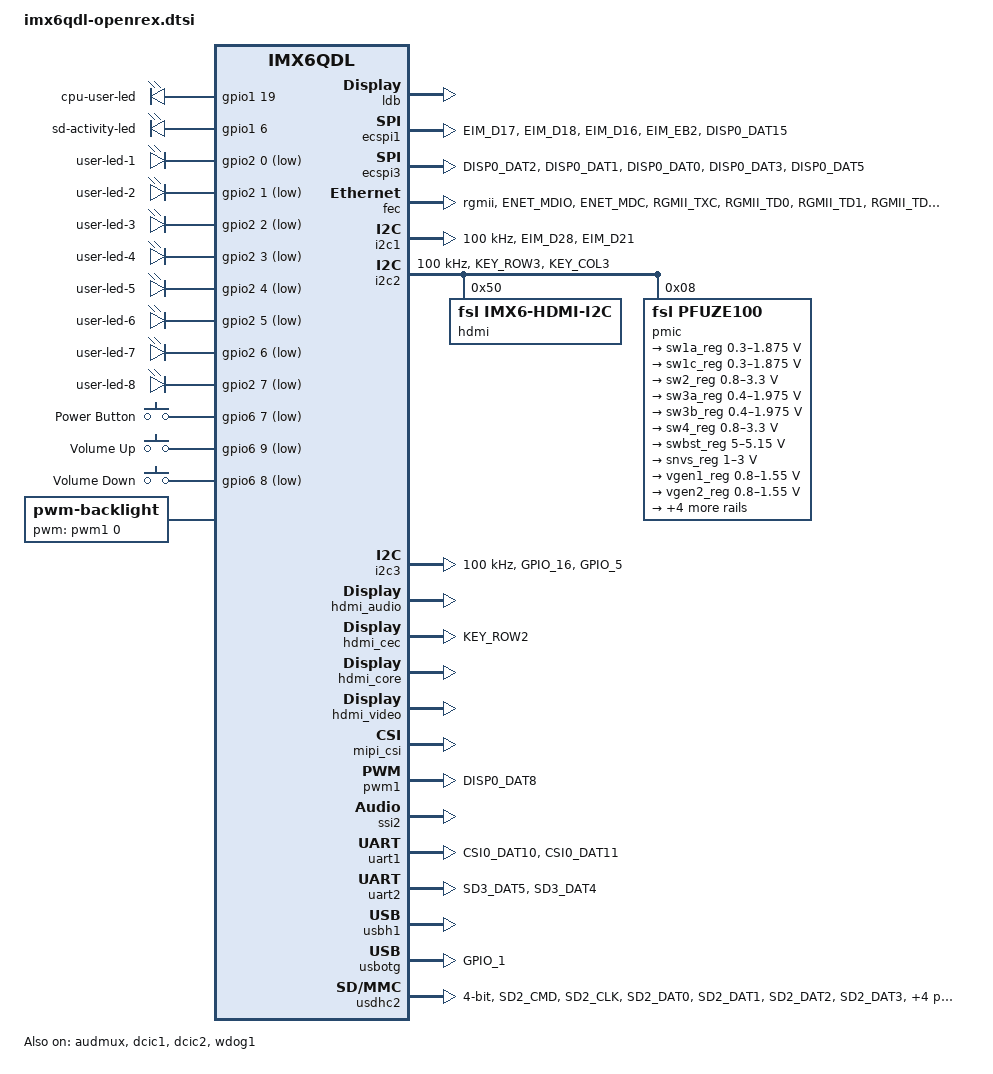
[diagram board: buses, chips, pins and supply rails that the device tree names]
/*
 * Copyright 2012 Freescale Semiconductor, Inc.
 * Copyright 2011 Linaro Ltd.
 *
 * The code contained herein is licensed under the GNU General Public
 * License. You may obtain a copy of the GNU General Public License
 * Version 2 or later at the following locations:
 *
 * http://www.opensource.org/licenses/gpl-license.html
 * http://www.gnu.org/copyleft/gpl.html
 */

#include <dt-bindings/input/input.h>

/ {
	aliases {
		mxcfb0 = &mxcfb1;
		mxcfb1 = &mxcfb2;
		mxcfb2 = &mxcfb3;
		mxcfb3 = &mxcfb4;
	};

	leds {
		compatible = "gpio-leds";

		cpu-user-led {
			gpios = <&gpio1 19 0>;
			linux,default-trigger = "heartbeat";
			retain-state-suspended;
		};

		sd-activity-led {
			gpios = <&gpio1 6 0>;
			linux,default-trigger = "mmc1";  /*SD activity LED*/
		};

		user-led-1 {
			gpios = <&gpio2 0 1>;
		};
		user-led-2 {
			gpios = <&gpio2 1 1>;
		};
		user-led-3 {
			gpios = <&gpio2 2 1>;
		};
		user-led-4 {
			gpios = <&gpio2 3 1>;
		};
		user-led-5 {
			gpios = <&gpio2 4 1>;
		};
		user-led-6 {
			gpios = <&gpio2 5 1>;
		};
		user-led-7 {
			gpios = <&gpio2 6 1>;
		};
		user-led-8 {
			gpios = <&gpio2 7 1>;
		};
	};

	regulators {
		compatible = "simple-bus";
		#address-cells = <1>;
		#size-cells = <0>;
	};

	gpio-keys {
		compatible = "gpio-keys";
		pinctrl-names = "default";
		pinctrl-0 = <&pinctrl_gpio_keys>;

		power {
			label = "Power Button";
			gpios = <&gpio6 7 1>;
			gpio-key,wakeup;
			linux,code = <KEY_POWER>;
		};

		volume-up {
			label = "Volume Up";
			gpios = <&gpio6 9 1>;
			gpio-key,wakeup;
			linux,code = <KEY_VOLUMEUP>;
		};

		volume-down {
			label = "Volume Down";
			gpios = <&gpio6 8 1>;
			gpio-key,wakeup;
			linux,code = <KEY_VOLUMEDOWN>;
		};
	};

	sound-hdmi {
		compatible = "fsl,imx6q-audio-hdmi",
			     "fsl,imx-audio-hdmi";
		model = "imx-audio-hdmi";
		hdmi-controller = <&hdmi_audio>;
	};

	mxcfb1: fb@0 {
		compatible = "fsl,mxc_sdc_fb";
		disp_dev = "hdmi";
		interface_pix_fmt = "RGB24";
		mode_str ="1920x1080M@60";
		default_bpp = <24>;
		int_clk = <0>;
		late_init = <0>;
		status = "disabled";
	};

	mxcfb2: fb@1 {
		compatible = "fsl,mxc_sdc_fb";
		disp_dev = "ldb";
		interface_pix_fmt = "RGB666";
		default_bpp = <16>;
		int_clk = <0>;
		late_init = <0>;
		status = "disabled";
	};

	mxcfb3: fb@2 {
		compatible = "fsl,mxc_sdc_fb";
		disp_dev = "lcd";
		interface_pix_fmt = "RGB565";
		mode_str ="CLAA-WVGA";
		default_bpp = <16>;
		int_clk = <0>;
		late_init = <0>;
		status = "disabled";
	};

	mxcfb4: fb@3 {
		compatible = "fsl,mxc_sdc_fb";
		disp_dev = "ldb";
		interface_pix_fmt = "RGB666";
		default_bpp = <16>;
		int_clk = <0>;
		late_init = <0>;
		status = "disabled";
	};

	backlight {
		compatible = "pwm-backlight";
		pwms = <&pwm1 0 5000000>;
		brightness-levels = <0 4 8 16 32 64 128 255>;
		default-brightness-level = <7>;
		status = "okay";
	};

	v4l2_cap_0 {
		compatible = "fsl,imx6q-v4l2-capture";
		ipu_id = <0>;
		csi_id = <0>;
		mclk_source = <0>;
		status = "okay";
	};

	v4l2_cap_1 {
		compatible = "fsl,imx6q-v4l2-capture";
		ipu_id = <0>;
		csi_id = <1>;
		mclk_source = <0>;
		status = "okay";
	};

	v4l2_out {
		compatible = "fsl,mxc_v4l2_output";
		status = "okay";
	};

};

&ldb {
	status = "okay";

	lvds-channel@0 {
		fsl,data-mapping = "spwg";
		fsl,data-width = <18>;
		status = "okay";

		display-timings {
			native-mode = <&timing0>;
			timing0: hsd100pxn1 {
				clock-frequency = <65000000>;
				hactive = <1024>;
				vactive = <768>;
				hback-porch = <220>;
				hfront-porch = <40>;
				vback-porch = <21>;
				vfront-porch = <7>;
				hsync-len = <60>;
				vsync-len = <10>;
			};
		};
	};
};

&audmux {
	pinctrl-names = "default";
	pinctrl-0 = <&pinctrl_audmux>;
	status = "okay";
};

&cpu0 {
	arm-supply = <&sw1a_reg>;
	soc-supply = <&sw1c_reg>;
};

&clks {
	fsl,ldb-di0-parent = <&clks IMX6QDL_CLK_PLL2_PFD0_352M>;
	fsl,ldb-di1-parent = <&clks IMX6QDL_CLK_PLL2_PFD0_352M>;
};

&ecspi1 {
	fsl,spi-num-chipselects = <2>;
	cs-gpios = <&gpio2 30 0>, <&gpio5 9 0>;
	pinctrl-names = "default";
	pinctrl-0 = <&pinctrl_ecspi1>;
	status = "okay";
};

&ecspi3 {
	fsl,spi-num-chipselects = <2>;
	cs-gpios = <&gpio4 24 0>, <&gpio4 26 0>;
	pinctrl-names = "default";
	pinctrl-0 = <&pinctrl_ecspi3>;
	status = "okay";
};

&fec {
	pinctrl-names = "default";
	pinctrl-0 = <&pinctrl_enet>;
	phy-mode = "rgmii";
	phy-reset-gpios = <&gpio1 25 0>;
	fsl,magic-packet;
	status = "okay";
};

&i2c1 {
	clock-frequency = <100000>;
	pinctrl-names = "default";
	pinctrl-0 = <&pinctrl_i2c1>;
	status = "okay";

};

&i2c2 {
	clock-frequency = <100000>;
	pinctrl-names = "default";
	pinctrl-0 = <&pinctrl_i2c2>;
	status = "okay";

	hdmi: edid@50 {
		compatible = "fsl,imx6-hdmi-i2c";
		reg = <0x50>;
	};

	pmic: pfuze100@08 {
		compatible = "fsl,pfuze100";
		reg = <0x08>;

		regulators {
			sw1a_reg: sw1ab {
				regulator-min-microvolt = <300000>;
				regulator-max-microvolt = <1875000>;
				regulator-boot-on;
				regulator-always-on;
				regulator-ramp-delay = <6250>;
			};

			sw1c_reg: sw1c {
				regulator-min-microvolt = <300000>;
				regulator-max-microvolt = <1875000>;
				regulator-boot-on;
				regulator-always-on;
				regulator-ramp-delay = <6250>;
			};

			sw2_reg: sw2 {
				regulator-min-microvolt = <800000>;
				regulator-max-microvolt = <3300000>;
				regulator-boot-on;
				regulator-always-on;
				regulator-ramp-delay = <6250>;
			};

			sw3a_reg: sw3a {
				regulator-min-microvolt = <400000>;
				regulator-max-microvolt = <1975000>;
				regulator-boot-on;
				regulator-always-on;
			};

			sw3b_reg: sw3b {
				regulator-min-microvolt = <400000>;
				regulator-max-microvolt = <1975000>;
				regulator-boot-on;
				regulator-always-on;
			};

			sw4_reg: sw4 {
				regulator-min-microvolt = <800000>;
				regulator-max-microvolt = <3300000>;
			};

			swbst_reg: swbst {
				regulator-min-microvolt = <5000000>;
				regulator-max-microvolt = <5150000>;
			};

			snvs_reg: vsnvs {
				regulator-min-microvolt = <1000000>;
				regulator-max-microvolt = <3000000>;
				regulator-boot-on;
				regulator-always-on;
			};

			vref_reg: vrefddr {
				regulator-boot-on;
				regulator-always-on;
			};

			vgen1_reg: vgen1 {
				regulator-min-microvolt = <800000>;
				regulator-max-microvolt = <1550000>;
			};

			vgen2_reg: vgen2 {
				regulator-min-microvolt = <800000>;
				regulator-max-microvolt = <1550000>;
			};

			vgen3_reg: vgen3 {
				regulator-min-microvolt = <1800000>;
				regulator-max-microvolt = <3300000>;
			};

			vgen4_reg: vgen4 {
				regulator-min-microvolt = <1800000>;
				regulator-max-microvolt = <3300000>;
				regulator-always-on;
			};

			vgen5_reg: vgen5 {
				regulator-min-microvolt = <1800000>;
				regulator-max-microvolt = <3300000>;
				regulator-always-on;
			};

			vgen6_reg: vgen6 {
				regulator-min-microvolt = <1800000>;
				regulator-max-microvolt = <3300000>;
				regulator-always-on;
			};
		};
	};



};

&i2c3 {
	clock-frequency = <100000>;
	pinctrl-names = "default";
	pinctrl-0 = <&pinctrl_i2c3>;
	status = "okay";

};

&dcic1 {
	dcic_id = <0>;
	dcic_mux = "dcic-hdmi";
	status = "okay";
};

&dcic2 {
	dcic_id = <1>;
	dcic_mux = "dcic-lvds1";
	status = "okay";
};


/* THIS MAY BE USEFUL IN FUTURE.
** Have a look at ldo-bypass, how this could save some power
** for now, leave it commented out */

/* 
&gpc {	
	fsl,ldo-bypass = <1>; 
	fsl,wdog-reset = <1>; 
};
*/

&hdmi_audio {
	status = "okay";
};

&hdmi_cec {
	pinctrl-names = "default";
	pinctrl-0 = <&pinctrl_hdmi_cec>;
	status = "okay";
};

&hdmi_core {
	ipu_id = <0>;
	disp_id = <0>;
	status = "okay";
};

&hdmi_video {
	fsl,phy_reg_vlev = <0x0294>;
	fsl,phy_reg_cksymtx = <0x800d>;
	status = "okay";
};

&mipi_csi {
	ipu_id = <0>;
	csi_id = <1>;
	v_channel = <0>;
	lanes = <2>;
	mipi_dphy_clk = <0x28>;
	status = "okay";
};

&pcie {
	reset-gpio = <&gpio4 15 0>;
	status = "disabled";
};

&pwm1 {
	pinctrl-names = "default";
	pinctrl-0 = <&pinctrl_pwm1>;
	status = "okay";
};

&ssi2 {
	fsl,mode = "i2s-slave";
	status = "okay";
};

&uart1 {
	pinctrl-names = "default";
	pinctrl-0 = <&pinctrl_uart1>;
	status = "okay";
};

&uart2 {
	pinctrl-names = "default";
	pinctrl-0 = <&pinctrl_uart2>;
	status = "okay";
};

&usbh1 {
	status = "okay";
};

&usbotg {
	pinctrl-names = "default";
	pinctrl-0 = <&pinctrl_usbotg>;
	disable-over-current;
	srp-disable;
	hnp-disable;
	adp-disable;
	status = "okay";
};

&usdhc2 {
	pinctrl-names = "default";
	pinctrl-0 = <&pinctrl_usdhc2>;
	bus-width = <4>;
	cd-gpios = <&gpio1 4 0>;
	wp-gpios = <&gpio1 2 0>;
	no-1-8-v;
	keep-power-in-suspend;
	enable-sdio-wakeup;
	status = "okay";
};

&wdog1 {
	status = "okay";
};

&wdog2 {
	status = "disabled";
};

&iomuxc {
	pinctrl-names = "default";
	pinctrl-0 = <&pinctrl_hog>;

	imx6qdl-sabresd {
		pinctrl_hog: hoggrp {
			fsl,pins = <
				MX6QDL_PAD_DI0_PIN4__GPIO4_IO20 	0x80000000 /* Board variant 0 */
				MX6QDL_PAD_DISP0_DAT7__GPIO4_IO28	0x80000000 /* Board variant 1 */
				MX6QDL_PAD_DISP0_DAT14__GPIO5_IO08	0x80000000 /* Board variant 2 */

				MX6QDL_PAD_DISP0_DAT22__GPIO5_IO16 	0x80000000 /* Board ID0 */
				MX6QDL_PAD_DISP0_DAT23__GPIO5_IO17	0x80000000 /* Board ID1 */
				MX6QDL_PAD_ENET_RX_ER__GPIO1_IO24	0x80000000 /* Board ID2 */

				MX6QDL_PAD_GPIO_6__GPIO1_IO06		0x17059	   /* SD CARD LED */

				MX6QDL_PAD_NANDF_D0__GPIO2_IO00		0x00000831 /* LED1 Open Drain Output */
				MX6QDL_PAD_NANDF_D1__GPIO2_IO01		0x00000831 /* LED2 Open Drain Output */
				MX6QDL_PAD_NANDF_D2__GPIO2_IO02		0x00000831 /* LED3 Open Drain Output */
				MX6QDL_PAD_NANDF_D3__GPIO2_IO03		0x00000831 /* LED4 Open Drain Output */
				MX6QDL_PAD_NANDF_D4__GPIO2_IO04		0x00000831 /* LED5 Open Drain Output */
				MX6QDL_PAD_NANDF_D5__GPIO2_IO05		0x00000831 /* LED6 Open Drain Output */
				MX6QDL_PAD_NANDF_D6__GPIO2_IO06		0x00000831 /* LED7 Open Drain Output */
				MX6QDL_PAD_NANDF_D7__GPIO2_IO07		0x00000831 /* LED8 Open Drain Output */

				/* 
				Automatically export GPIO pins (to create /sys/class/gpio/gpioXX) and assign them to gpio group, do following:

				create: 
				"nano /etc/udev/rules.d/10-local.rules"

				add:
				#set MCU_RSTINn
				ACTION=="add", SUBSYSTEM=="gpio", PROGRAM="/bin/sh -c 'echo 16 > /sys/class/gpio/export'"
				ACTION=="add", SUBSYSTEM=="gpio", PROGRAM="/bin/sh -c 'chown -R root:gpio /sys/class/gpio/gpio16/'"
				ACTION=="add", SUBSYSTEM=="gpio", PROGRAM="/bin/sh -c 'chmod -R 774 /sys/class/gpio/gpio16/'"

				#set MCU_ISPn
				ACTION=="add", SUBSYSTEM=="gpio", PROGRAM="/bin/sh -c 'echo 18 > /sys/class/gpio/export'"
				ACTION=="add", SUBSYSTEM=="gpio", PROGRAM="/bin/sh -c 'chown -R root:gpio /sys/class/gpio/gpio18/'"
				ACTION=="add", SUBSYSTEM=="gpio", PROGRAM="/bin/sh -c 'chmod -R 774 /sys/class/gpio/gpio18/'"

				*/
				MX6QDL_PAD_SD1_DAT0__GPIO1_IO16		0x00000831 /* MCU_RSTINn Open Drain Output */
				MX6QDL_PAD_SD1_CMD__GPIO1_IO18		0x00000831 /* MCU_ISPn Open Drain Output */
			>;
		};

		pinctrl_audmux: audmuxgrp {
			fsl,pins = <
				MX6QDL_PAD_CSI0_DAT7__AUD3_RXD		0x130b0
				MX6QDL_PAD_CSI0_DAT4__AUD3_TXC		0x130b0
				MX6QDL_PAD_CSI0_DAT5__AUD3_TXD		0x110b0
				MX6QDL_PAD_CSI0_DAT6__AUD3_TXFS		0x130b0
			>;
		};

		pinctrl_ecspi1: ecspi1grp {
			fsl,pins = <
				MX6QDL_PAD_EIM_D17__ECSPI1_MISO		0x100b1
				MX6QDL_PAD_EIM_D18__ECSPI1_MOSI		0x100b1
				MX6QDL_PAD_EIM_D16__ECSPI1_SCLK		0x100b1
				MX6QDL_PAD_EIM_EB2__GPIO2_IO30		0x80000000 /* CS0 */
				MX6QDL_PAD_DISP0_DAT15__GPIO5_IO09	0x80000000 /* CS1 */
			>;
		};

		pinctrl_ecspi3: ecspi3grp {
			fsl,pins = <
				MX6QDL_PAD_DISP0_DAT2__ECSPI3_MISO	0x100b1
				MX6QDL_PAD_DISP0_DAT1__ECSPI3_MOSI	0x100b1
				MX6QDL_PAD_DISP0_DAT0__ECSPI3_SCLK	0x100b1
				MX6QDL_PAD_DISP0_DAT3__GPIO4_IO24	0x80000000 /* CS0 */
				MX6QDL_PAD_DISP0_DAT5__GPIO4_IO26	0x80000000 /* CS2 */
			>;
		};

		pinctrl_enet: enetgrp {
			fsl,pins = <
				MX6QDL_PAD_ENET_MDIO__ENET_MDIO		0x1b0b0
				MX6QDL_PAD_ENET_MDC__ENET_MDC		0x1b0b0
				MX6QDL_PAD_RGMII_TXC__RGMII_TXC		0x1b0b0
				MX6QDL_PAD_RGMII_TD0__RGMII_TD0		0x1b0b0
				MX6QDL_PAD_RGMII_TD1__RGMII_TD1		0x1b0b0
				MX6QDL_PAD_RGMII_TD2__RGMII_TD2		0x1b0b0
				MX6QDL_PAD_RGMII_TD3__RGMII_TD3		0x1b0b0
				MX6QDL_PAD_RGMII_TX_CTL__RGMII_TX_CTL	0x1b0b0
				MX6QDL_PAD_ENET_REF_CLK__ENET_TX_CLK	0x1b0b0
				MX6QDL_PAD_RGMII_RXC__RGMII_RXC		0x1b0b0
				MX6QDL_PAD_RGMII_RD0__RGMII_RD0		0x1b0b0
				MX6QDL_PAD_RGMII_RD1__RGMII_RD1		0x1b0b0
				MX6QDL_PAD_RGMII_RD2__RGMII_RD2		0x1b0b0
				MX6QDL_PAD_RGMII_RD3__RGMII_RD3		0x1b0b0
				MX6QDL_PAD_RGMII_RX_CTL__RGMII_RX_CTL	0x1b0b0
				MX6QDL_PAD_ENET_TX_EN__GPIO1_IO28	0x80000000 /* PHY Int */
				MX6QDL_PAD_ENET_RXD1__GPIO1_IO26	0x80000000 /* PHY Int */
				MX6QDL_PAD_ENET_CRS_DV__GPIO1_IO25	0x00000831 /* PHY Reset */
			>;
		};

		pinctrl_gpio_keys: gpio_keysgrp {
			fsl,pins = <
				MX6QDL_PAD_NANDF_CLE__GPIO6_IO07 0x80000000
				MX6QDL_PAD_NANDF_WP_B__GPIO6_IO09  0x80000000
				MX6QDL_PAD_NANDF_ALE__GPIO6_IO08  0x80000000
			>;
		};

		pinctrl_hdmi_cec: hdmicecgrp {
			fsl,pins = <
				MX6QDL_PAD_KEY_ROW2__HDMI_TX_CEC_LINE 0x1f8b0
			>;
		};

		pinctrl_i2c1: i2c1grp {
			fsl,pins = <
				MX6QDL_PAD_EIM_D28__I2C1_SDA		0x4001b8b1
				MX6QDL_PAD_EIM_D21__I2C1_SCL		0x4001b8b1
			>;
		};

		pinctrl_i2c2: i2c2grp {
			fsl,pins = <
				MX6QDL_PAD_KEY_ROW3__I2C2_SDA 		0x4001b8b1
				MX6QDL_PAD_KEY_COL3__I2C2_SCL		0x4001b8b1
			 >;
		};

		pinctrl_i2c3: i2c3grp {
			fsl,pins = <
				MX6QDL_PAD_GPIO_16__I2C3_SDA		0x4001b8b1
				MX6QDL_PAD_GPIO_5__I2C3_SCL		0x4001b8b1
			>;
		};

		pinctrl_pwm1: pwm1grp {
			fsl,pins = <
				MX6QDL_PAD_DISP0_DAT8__PWM1_OUT		0x1b0b1
			>;
		};

		pinctrl_uart1: uart1grp {
			fsl,pins = <
				MX6QDL_PAD_CSI0_DAT10__UART1_TX_DATA	0x1b0b1
				MX6QDL_PAD_CSI0_DAT11__UART1_RX_DATA	0x1b0b1
			>;
		};

		pinctrl_uart2: uart2grp {
			fsl,pins = <
				MX6QDL_PAD_SD3_DAT5__UART2_TX_DATA	0x1b0b1
				MX6QDL_PAD_SD3_DAT4__UART2_RX_DATA	0x1b0b1
			>;
		};

		pinctrl_usbotg: usbotggrp {
			fsl,pins = <
				MX6QDL_PAD_GPIO_1__USB_OTG_ID		0x17059
			>;
		};

		pinctrl_usdhc2: usdhc2grp {
			fsl,pins = <
				MX6QDL_PAD_SD2_CMD__SD2_CMD		0x17059
				MX6QDL_PAD_SD2_CLK__SD2_CLK		0x10059
				MX6QDL_PAD_SD2_DAT0__SD2_DATA0		0x17059
				MX6QDL_PAD_SD2_DAT1__SD2_DATA1		0x17059
				MX6QDL_PAD_SD2_DAT2__SD2_DATA2		0x17059
				MX6QDL_PAD_SD2_DAT3__SD2_DATA3		0x17059
				MX6QDL_PAD_GPIO_4__GPIO1_IO04		0x80000000 /* CD */
				MX6QDL_PAD_GPIO_2__GPIO1_IO02		0x80000000 /* WP */
			>;
		};

	};
};

